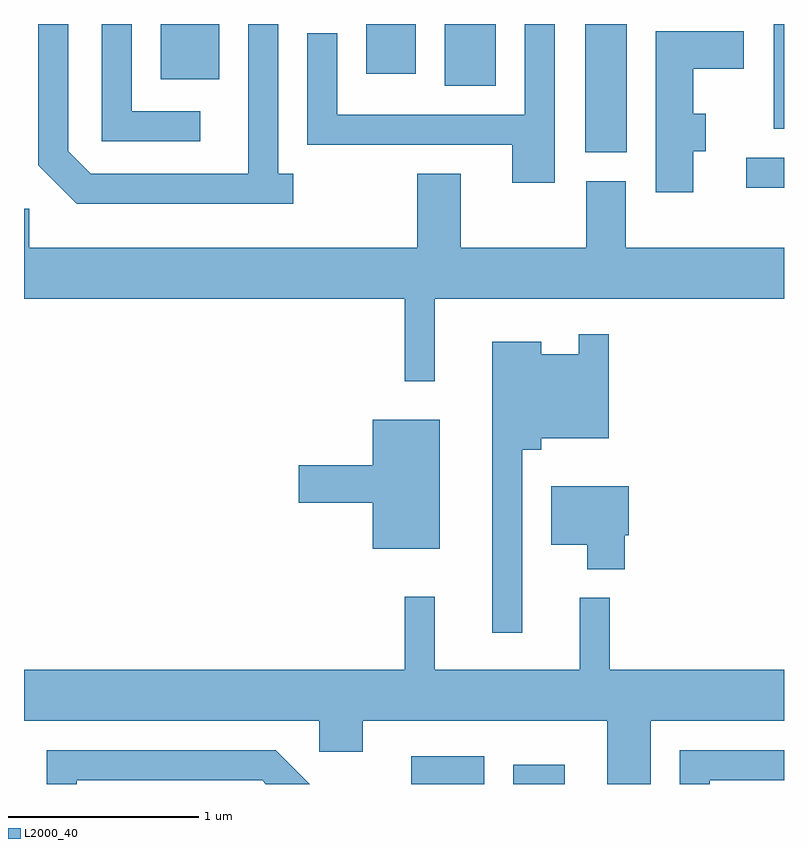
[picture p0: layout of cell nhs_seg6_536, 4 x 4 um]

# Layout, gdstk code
import gdstk
lib = gdstk.Library(unit=1e-6, precision=1e-09)
def R(c, l, rs):  # rectangles x0, y0, x1, y1
    for r in rs: c.add(gdstk.rectangle(r[:2], r[2:], *l))
def P(c, l, *ps):  # polygons
    for p in ps: c.add(gdstk.Polygon(p, *l))
L2000_40 = (2000, 40)

nhs_seg6_536 = lib.new_cell('nhs_seg6_536')
R(nhs_seg6_536, L2000_40, [(203.648,1534.162,204.034,1534.309), (204.186,1534.162,204.458,1534.264), (205.413,1537.301,205.611,1537.459), (204.566,1537.486,204.784,1538.162), (205.556,1537.611,205.611,1538.162), (203.826,1537.836,204.094,1538.162), (202.331,1537.871,202.639,1538.162), (203.411,1537.901,203.674,1538.162)])
P(nhs_seg6_536, L2000_40, [(204.404,1538.162),(204.246,1538.162),(204.246,1537.684),(203.259,1537.684),(203.259,1538.113),(203.101,1538.113),(203.101,1537.526),(204.181,1537.526),(204.181,1537.326),(204.404,1537.326)],
  [(203.028,1537.374),(202.949,1537.374),(202.949,1538.162),(202.791,1538.162),(202.791,1537.374),(201.962,1537.374),(201.844,1537.492),(201.844,1538.162),(201.686,1538.162),(201.686,1537.419),(201.889,1537.216),(203.028,1537.216)],
  [(202.538,1537.704),(202.179,1537.704),(202.179,1538.162),(202.021,1538.162),(202.021,1537.546),(202.538,1537.546)],
  [(205.134,1537.491),(205.199,1537.491),(205.199,1537.689),(205.134,1537.689),(205.134,1537.926),(205.399,1537.926),(205.399,1538.124),(204.936,1538.124),(204.936,1537.276),(205.134,1537.276)],
  [(203.774,1536.716),(205.611,1536.716),(205.611,1536.984),(204.779,1536.984),(204.779,1537.334),(204.571,1537.334),(204.571,1536.984),(203.909,1536.984),(203.909,1537.374),(203.681,1537.374),(203.681,1536.984),(201.639,1536.984),(201.639,1537.189),(201.611,1537.189),(201.611,1536.716),(203.616,1536.716),(203.616,1536.283),(203.774,1536.283)],
  [(204.234,1535.921),(204.334,1535.921),(204.334,1535.981),(204.689,1535.981),(204.689,1536.528),(204.531,1536.528),(204.531,1536.424),(204.334,1536.424),(204.334,1536.489),(204.076,1536.489),(204.076,1534.958),(204.234,1534.958)],
  [(203.799,1536.079),(203.446,1536.079),(203.446,1535.839),(203.056,1535.839),(203.056,1535.641),(203.446,1535.641),(203.446,1535.401),(203.799,1535.401)],
  [(204.774,1535.471),(204.794,1535.471),(204.794,1535.729),(204.386,1535.729),(204.386,1535.421),(204.576,1535.421),(204.576,1535.291),(204.774,1535.291)],
  [(204.909,1534.496),(205.611,1534.496),(205.611,1534.764),(204.694,1534.764),(204.694,1535.143),(204.536,1535.143),(204.536,1534.764),(203.774,1534.764),(203.774,1535.148),(203.616,1535.148),(203.616,1534.764),(201.611,1534.764),(201.611,1534.496),(203.166,1534.496),(203.166,1534.331),(203.394,1534.331),(203.394,1534.496),(204.681,1534.496),(204.681,1534.162),(204.909,1534.162)],
  [(201.889,1534.181),(202.864,1534.181),(202.883,1534.162),(203.114,1534.162),(202.937,1534.339),(201.731,1534.339),(201.731,1534.162),(201.889,1534.162)],
  [(205.219,1534.181),(205.611,1534.181),(205.611,1534.339),(205.061,1534.339),(205.061,1534.162),(205.219,1534.162)])

lib.write_gds('nhs_seg6_536.gds')
